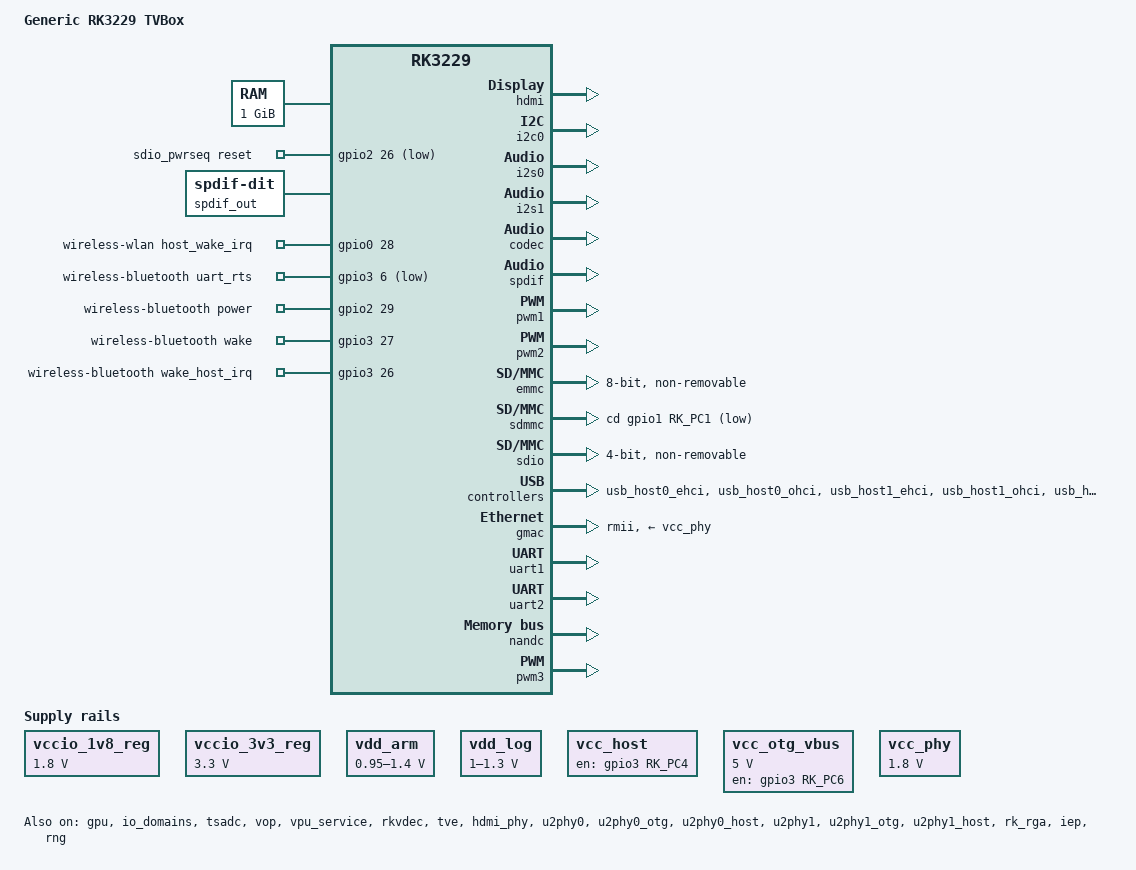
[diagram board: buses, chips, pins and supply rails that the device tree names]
/*
 * Copyright (c) 2017 Fuzhou Rockchip Electronics Co., Ltd
 *
 * This file is dual-licensed: you can use it either under the terms
 * of the GPL or the X11 license, at your option. Note that this dual
 * licensing only applies to this file, and not this project as a
 * whole.
 *
 *  a) This file is free software; you can redistribute it and/or
 *     modify it under the terms of the GNU General Public License as
 *     published by the Free Software Foundation; either version 2 of the
 *     License, or (at your option) any later version.
 *
 *     This file is distributed in the hope that it will be useful,
 *     but WITHOUT ANY WARRANTY; without even the implied warranty of
 *     MERCHANTABILITY or FITNESS FOR A PARTICULAR PURPOSE.  See the
 *     GNU General Public License for more details.
 *
 *  Or, alternatively,
 *
 *  b) Permission is hereby granted, free of charge, to any person
 *     obtaining a copy of this software and associated documentation
 *     files (the "Software"), to deal in the Software without
 *     restriction, including without limitation the rights to use,
 *     copy, modify, merge, publish, distribute, sublicense, and/or
 *     sell copies of the Software, and to permit persons to whom the
 *     Software is furnished to do so, subject to the following
 *     conditions:
 *
 *     The above copyright notice and this permission notice shall be
 *     included in all copies or substantial portions of the Software.
 *
 *     THE SOFTWARE IS PROVIDED "AS IS", WITHOUT WARRANTY OF ANY KIND,
 *     EXPRESS OR IMPLIED, INCLUDING BUT NOT LIMITED TO THE WARRANTIES
 *     OF MERCHANTABILITY, FITNESS FOR A PARTICULAR PURPOSE AND
 *     NONINFRINGEMENT. IN NO EVENT SHALL THE AUTHORS OR COPYRIGHT
 *     HOLDERS BE LIABLE FOR ANY CLAIM, DAMAGES OR OTHER LIABILITY,
 *     WHETHER IN AN ACTION OF CONTRACT, TORT OR OTHERWISE, ARISING
 *     FROM, OUT OF OR IN CONNECTION WITH THE SOFTWARE OR THE USE OR
 *     OTHER DEALINGS IN THE SOFTWARE.
 */

/dts-v1/;

#include "rk322x.dtsi"
#include "rk3229-cpu-opp.dtsi"
#include "rk322x-android.dtsi"

/ {
	model = "Generic RK3229 TVBox";
	compatible = "rockchip,rk3229-tvbox", "rockchip,rk3229";

	/*
	 * TVbox から検出: メモリは 1GB (0x40000000)
	 * 開始アドレス 0x60000000 (DDR3 配置)
	 */
	memory@60000000 {
		device_type = "memory";
		reg = <0x60000000 0x40000000>;
	};

	reserved-memory {
		#address-cells = <1>;
		#size-cells = <1>;
		ranges;

		trust_reserved: trust@0x68400000 {
			reg = <0x68400000 0xe00000>;
			no-map;
		};
	};

	/* ---- 電源レギュレータ ---- */
	regulators {
		compatible = "simple-bus";
		#address-cells = <1>;
		#size-cells = <0>;

		vccio_1v8_reg: regulator@0 {
			compatible = "regulator-fixed";
			regulator-name = "vccio_1v8";
			regulator-min-microvolt = <1800000>;
			regulator-max-microvolt = <1800000>;
			regulator-always-on;
		};

		vccio_3v3_reg: regulator@1 {
			compatible = "regulator-fixed";
			regulator-name = "vccio_3v3";
			regulator-min-microvolt = <3300000>;
			regulator-max-microvolt = <3300000>;
			regulator-always-on;
		};
	};

	/*
	 * TVbox: vdd_arm は PWM1 (0x110b0010) で制御
	 * rockchip,pwm_id=1, voltage_map から voltage range を取得
	 * OSS の pwm-regulator に変換
	 */
	vdd_arm: vdd-arm-regulator {
		compatible = "pwm-regulator";
		rockchip,pwm_id = <1>;
		rockchip,pwm_voltage = <1100000>;
		pwms = <&pwm1 0 25000 1>;
		regulator-name = "vdd_arm";
		/* TVbox: min=0xe7ef0=950000, max=0x155cc0=1400000 */
		regulator-min-microvolt = <950000>;
		regulator-max-microvolt = <1400000>;
		regulator-always-on;
		regulator-boot-on;
	};

	/*
	 * TVbox: vdd_logic は PWM2 (0x110b0020) で制御
	 * rockchip,pwm_id=2
	 */
	vdd_log: vdd-log-regulator {
		compatible = "pwm-regulator";
		rockchip,pwm_id = <2>;
		rockchip,pwm_voltage = <1200000>;
		pwms = <&pwm2 0 25000 1>;
		regulator-name = "vdd_log";
		/* TVbox: min=0xf4240=1000000, max=0x13d620=1300000 */
		regulator-min-microvolt = <1000000>;
		regulator-max-microvolt = <1300000>;
		regulator-always-on;
		regulator-boot-on;
	};

	/* ---- USB 電源制御 ---- */
	/*
	 * TVbox: host_drv_gpio = GPIO3_D4 (gpio3, pin 20+ビット)
	 * gpio3 = phandle 0xb4 → GPIO3, 0x14=20 → RK_PC4
	 * otg_drv_gpio = GPIO3_D6 (0x16=22 → RK_PC6)
	 */
	vcc_host: vcc-host-regulator {
		compatible = "regulator-fixed";
		enable-active-high;
		gpio = <&gpio3 RK_PC4 GPIO_ACTIVE_HIGH>;
		pinctrl-names = "default";
		pinctrl-0 = <&host_vbus_drv>;
		regulator-name = "vcc_host";
		regulator-always-on;
		regulator-boot-on;
	};

	vcc_otg_vbus: otg-vbus-regulator {
		compatible = "regulator-fixed";
		gpio = <&gpio3 RK_PC6 GPIO_ACTIVE_HIGH>;
		pinctrl-names = "default";
		pinctrl-0 = <&otg_vbus_drv>;
		regulator-name = "vcc_otg_vbus";
		regulator-min-microvolt = <5000000>;
		regulator-max-microvolt = <5000000>;
		enable-active-high;
	};

	vcc_phy: vcc-phy-regulator {
		compatible = "regulator-fixed";
		enable-active-high;
		regulator-name = "vcc_phy";
		regulator-min-microvolt = <1800000>;
		regulator-max-microvolt = <1800000>;
		regulator-always-on;
		regulator-boot-on;
	};

	/* ---- SDIO / WiFi 電源シーケンス ---- */
	/*
	 * TVbox: wifi_chip_type = "ap6330", WIFI,poweren_gpio = GPIO2_D2 (gpio2, 26)
	 * OSS の mmc-pwrseq-simple に変換
	 */
	sdio_pwrseq: sdio-pwrseq {
		compatible = "mmc-pwrseq-simple";
		pinctrl-names = "default";
		pinctrl-0 = <&wifi_enable_h>;
		/* GPIO2_D2 = gpio2, pin 26 */
		reset-gpios = <&gpio2 26 GPIO_ACTIVE_LOW>;
	};

	/* ---- サウンド ---- */
	sound {
		compatible = "simple-audio-card";
		simple-audio-card,format = "i2s";
		simple-audio-card,mclk-fs = <256>;
		simple-audio-card,name = "rockchip,rk3229";
		simple-audio-card,cpu {
			sound-dai = <&i2s1>;
		};
		simple-audio-card,codec {
			sound-dai = <&codec>;
		};
	};

	hdmi_sound: hdmi-sound {
		status = "okay";
		compatible = "simple-audio-card";
		simple-audio-card,format = "i2s";
		simple-audio-card,mclk-fs = <256>;
		simple-audio-card,name = "rockchip,hdmi";
		simple-audio-card,cpu {
			sound-dai = <&i2s0>;
		};
		simple-audio-card,codec {
			sound-dai = <&hdmi>;
		};
	};

	spdif_out: spdif-out {
		status = "okay";
		compatible = "linux,spdif-dit";
		#sound-dai-cells = <0>;
	};

	spdif-sound {
		status = "okay";
		compatible = "simple-audio-card";
		simple-audio-card,name = "ROCKCHIP,SPDIF";
		simple-audio-card,cpu {
			sound-dai = <&spdif>;
		};
		simple-audio-card,codec {
			sound-dai = <&spdif_out>;
		};
	};

	/* ---- WiFi プラットフォーム情報 ---- */
	/*
	 * TVbox: wifi_chip_type="ap6330", sdio_vref=0x708=1800
	 * WIFI,host_wake_irq = GPIO0 pin 0x1c=28
	 */
	wireless-wlan {
		compatible = "wlan-platdata";
		rockchip,grf = <&grf>;
		wifi_chip_type = "ap6330";
		sdio_vref = <1800>;
		/* GPIO0_D4 = gpio0, pin 28 */
		WIFI,host_wake_irq = <&gpio0 28 GPIO_ACTIVE_HIGH>;
		status = "okay";
	};

	/* ---- Bluetooth ---- */
	/*
	 * TVbox: BT,power_gpio = GPIO2_D5 (gpio2, 29=0x1d)
	 * BT,wake_gpio = GPIO3_D3 (gpio3, 27=0x1b)
	 * BT,wake_host_irq = GPIO3_D2 (gpio3, 26=0x1a)
	 * LED,blue_gpio = GPIO1_A7 (gpio1, 7=0x07)
	 * LED,red_gpio = GPIO3_C5 (gpio3, 21=0x15)
	 * uart_rts_gpios = GPIO3_A6 (gpio3, 6=0x06)
	 */
	wireless-bluetooth {
		compatible = "bluetooth-platdata";
		uart_rts_gpios = <&gpio3 6 GPIO_ACTIVE_LOW>;
		pinctrl-names = "default", "rts_gpio";
		pinctrl-0 = <&uart11_rts>;
		pinctrl-1 = <&uart11_rts_gpio>;
		BT,power_gpio  = <&gpio2 29 GPIO_ACTIVE_HIGH>;
		BT,wake_gpio   = <&gpio3 27 GPIO_ACTIVE_HIGH>;
		BT,wake_host_irq = <&gpio3 26 GPIO_ACTIVE_HIGH>;
		status = "okay";
	};
};

/* ---- CPU 電源供給 ---- */
&cpu0 {
	cpu-supply = <&vdd_arm>;
};

/* ---- GPU ---- */
&gpu {
	status = "okay";
	mali-supply = <&vdd_log>;
};

/* ---- HDMI ---- */
&hdmi {
	status = "okay";
	#sound-dai-cells = <0>;
	ddc-i2c-scl-high-time-ns = <9625>;
	ddc-i2c-scl-low-time-ns = <10000>;
};

/* ---- IO domains ---- */
/*
 * TVbox: vccio1=3v3, vccio2=1v8, vccio4=3v3
 */
&io_domains {
	status = "okay";
	vccio1-supply = <&vccio_3v3_reg>;
	vccio2-supply = <&vccio_1v8_reg>;
	vccio4-supply = <&vccio_3v3_reg>;
};

/* ---- I2C ---- */
&i2c0 {
	status = "okay";
	/* TVbox には nau8540 が i2c1 (0x11060000) にあるが
	 * OSS EVB では i2c0 に RTC (hym8563) を追加 */
};

/* ---- I2S ---- */
&i2s0 {
	status = "okay";
	rockchip,bclk-fs = <128>;
	#sound-dai-cells = <0>;
};

&i2s1 {
	#sound-dai-cells = <0>;
	status = "okay";
};

/* ---- Codec ---- */
/*
 * TVbox: spk_ctl_io = GPIO1_A5 (gpio1, 5=0x05)
 * OSS の spk-en-gpio に変換
 */
&codec {
	#sound-dai-cells = <0>;
	status = "okay";
	spk-en-gpio = <&gpio1 RK_PA3 GPIO_ACTIVE_HIGH>;
};

/* ---- SPDIF ---- */
&spdif {
	status = "okay";
	#sound-dai-cells = <0>;
};

/* ---- Thermal / TSADC ---- */
&tsadc {
	status = "okay";
};

/* ---- PWM (電圧制御用) ---- */
&pwm1 {
	status = "okay";
	pinctrl-names = "active";
	pinctrl-0 = <&pwm1_pin_pull_down>;
};

&pwm2 {
	status = "okay";
	pinctrl-names = "active";
	pinctrl-0 = <&pwm2_pin_pull_up>;
};

/* ---- eMMC ---- */
/*
 * TVbox: bus-width=8, supports-emmc, clock-frequency=0x23c3460=37500000
 */
&emmc {
	status = "okay";
	bus-width = <8>;
	cap-mmc-highspeed;
	supports-emmc;
	disable-wp;
	non-removable;
	num-slots = <1>;
	pinctrl-names = "default";
	pinctrl-0 = <&emmc_clk &emmc_cmd &emmc_bus8>;
};

/* ---- SD カード ---- */
/*
 * TVbox: cd-gpios = GPIO1_C1 (gpio1, 17=0x11)
 * broken-cd, power-inverted, supports-sd
 */
&sdmmc {
	status = "okay";
	pinctrl-names = "default";
	pinctrl-0 = <&sdmmc_clk &sdmmc_cmd &sdmmc_bus4>;
	cd-gpios = <&gpio1 RK_PC1 GPIO_ACTIVE_LOW>;
	supports-sd;
	broken-cd;
	cap-sd-highspeed;
	card-detect-delay = <200>;
};

/* ---- SDIO (WiFi) ---- */
&sdio {
	status = "okay";
	mmc-pwrseq = <&sdio_pwrseq>;
	bus-width = <4>;
	cap-sd-highspeed;
	cap-sdio-irq;
	keep-power-in-suspend;
	non-removable;
	num-slots = <1>;
	pinctrl-names = "default";
	pinctrl-0 = <&sdio_clk &sdio_cmd &sdio_bus4>;
};

/* ---- USB ---- */

&usb_host0_ehci {
	status = "okay";
};

&usb_host0_ohci {
	status = "okay";
};

&usb_host1_ehci {
	status = "okay";
};

&usb_host1_ohci {
	status = "okay";
};

&usb_host2_ehci {
	status = "okay";
};

&usb_host2_ohci {
	status = "okay";
};

/* ---- Ethernet (GMAC) ---- */
/*
 * TVbox: phy-mode="rmii", phy-type="internal"
 * clock_in_out="output", tx_delay=0x26, rx_delay=0x11
 * link-gpio = GPIO2_B6 (gpio2, 14=0x0e)
 */
&gmac {
	assigned-clocks = <&cru SCLK_MAC_SRC>;
	assigned-clock-rates = <50000000>;
	clock_in_out = "output";
	phy-supply = <&vcc_phy>;
	phy-mode = "rmii";
	phy-is-integrated;
	tx_delay = <0x26>;
	rx_delay = <0x11>;
	status = "okay";
};

/* ---- VOP / Display ---- */
&vop {
	status = "okay";
};

&vop_mmu {
	status = "okay";
};

/* ---- ビデオデコーダ ---- */
&vpu_service {
	status = "okay";
};

&vpu_mmu {
	status = "okay";
};

&rkvdec {
	status = "okay";
};

&rkvdec_mmu {
	status = "okay";
};

/* ---- TVE (コンポジット出力) ---- */
&tve {
	status = "okay";
};

/* ---- UART ---- */
/*
 * UART0 (0x11010000): TVboxでは未使用 (status=disabled)
 * pinctrl は uart0_xfer + uart0_cts + uart0_rts が利用可能
 */
&uart0 {
	status = "disabled";
};

/*
 * UART1 (0x11020000): TVboxでは Bluetooth に使用
 * pinctrl-0 = uart11-xfer (GPIO3_B5/B4) + uart11-cts + clk-32k-out
 * dma-names = "!tx", "!rx" → DMA無効でFIFO動作
 * wireless-bluetooth ノードと連携
 */
&uart1 {
	status = "okay";
	pinctrl-names = "default";
	pinctrl-0 = <&uart11_xfer &uart11_cts &uart11_rts>;
	dma-names = "!tx", "!rx";
};

/*
 * UART2 (0x11030000): TVboxのデバッグコンソール
 * fiq-debugger が serial-id=2 で参照 (baudrate=0x16e360=1500000)
 * pinctrl-0 = uart21-xfer (GPIO1_B9/B10, func2)
 * chosen { bootargs } に console=ttyFIQ0 が期待される
 */
&uart2 {
	status = "okay";
	pinctrl-names = "default";
	pinctrl-0 = <&uart21_xfer>;
};

/* ---- pinctrl ---- */
&pinctrl {
	sdio-pwrseq {
		wifi_enable_h: wifi-enable-h {
			/* GPIO2_D2 = gpio2, pin 26 */
			rockchip,pins = <2 26 RK_FUNC_GPIO &pcfg_pull_none>;
		};
	};

	usb {
		host_vbus_drv: host-vbus-drv {
			/* GPIO3_C4 = gpio3, pin 20 */
			rockchip,pins = <3 RK_PC4 RK_FUNC_GPIO &pcfg_pull_none>;
		};

		otg_vbus_drv: otg-vbus-drv {
			/* GPIO3_C6 = gpio3, RK_PC6 */
			rockchip,pins = <3 RK_PC6 RK_FUNC_GPIO &pcfg_pull_none>;
		};
	};

	sdmmc {
		sdmmc_pwr: sdmmc-pwr {
			/* GPIO1_B6 = gpio1, pin 14 */
			rockchip,pins = <1 14 RK_FUNC_GPIO &pcfg_pull_none>;
		};
	};
};

/* ---- HDMI PHY ---- */
/* TVbox: HDMI が動いていたので hdmi_phy も有効 */
&hdmi_phy {
	status = "okay";
};

/* ---- USB PHY (u2phy) ---- */
/* TVbox: USB Host x3 + OTG が動作 → phy 本体も有効化が必要 */
&u2phy0 {
	status = "okay";
};

&u2phy0_otg {
	status = "okay";
	vbus-supply = <&vcc_otg_vbus>;
};

&u2phy0_host {
	status = "okay";
	phy-supply = <&vcc_host>;
};

&u2phy1 {
	status = "okay";
};

&u2phy1_otg {
	status = "okay";
};

&u2phy1_host {
	status = "okay";
	phy-supply = <&vcc_host>;
};

/* ---- OTG ---- */
/* TVbox: otg@30040000 が動作 */
&usb_otg {
	status = "okay";
};

/* ---- RGA2 (2D accelerator) ---- */
/* TVbox: rga@20060000 は status 記述なし (デフォルトで動作) */
&rk_rga {
	status = "okay";
};

/* ---- IEP (Image Enhancement Processor) ---- */
/* TVbox: iep@20070000 status="okay" */
&iep {
	status = "okay";
};

&iep_mmu {
	status = "okay";
};

/* ---- NAND コントローラ ---- */
/* TVbox: nandc@30030000 status="okay"
 * 注意: mainline kernel にドライバ未マージ。
 * CONFIG_MTD_NAND_ROCKCHIP が必要 (BSP kernel)。
 * eMMC で起動する場合は不要な場合が多い。 */
&nandc {
	status = "okay";
};

/* ---- PWM3 (IR リモコン受信) ---- */
/* TVbox: pwm@110b0030 compatible="rockchip,remotectl-pwm" status="okay"
 * OSS では rockchip,remotectl-pwm ドライバ未マージ。
 * gpio-ir-receiver で代替する場合は disabled のままにする。
 * BSP kernel 使用時のみ有効。 */
&pwm3 {
	status = "okay";
};

/* ---- RNG / Crypto ---- */
/* TVbox: crypto ハードウェアは存在 (disabled 設定だが HW あり)
 * OSS の rng ノード (rockchip,cryptov1-rng) で有効化。
 * CONFIG_CRYPTO_DEV_ROCKCHIP=y が必要。 */
&rng {
	status = "okay";
};

/* ---- サスペンド ---- */
/* TVbox: rockchip_suspend ctrbits=0x11806
 * OSS の sleep-mode-config に相当する設定で有効化。 */
&rockchip_suspend {
	status = "okay";
};
